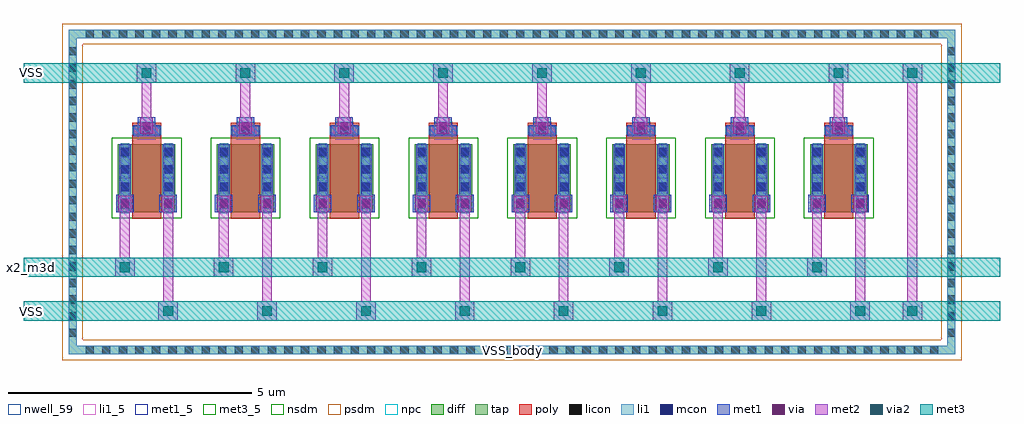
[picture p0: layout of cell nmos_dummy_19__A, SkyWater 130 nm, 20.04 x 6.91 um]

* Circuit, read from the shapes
.subckt nmos_dummy_19__A VSS VSS_body x2_m3d
XM1 VSS VSS x2_m3d VSS_body sky130_fd_pr__nfet_01v8 w=1.4 l=0.6 m=8
.ends

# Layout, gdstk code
import gdstk
lib = gdstk.Library(unit=1e-6, precision=1e-09)
def R(c, l, rs):  # rectangles x0, y0, x1, y1
    for r in rs: c.add(gdstk.rectangle(r[:2], r[2:], *l))
def A(c, l, x, y, w, h, nx, ny, dx, dy):  # array of equal rectangles
    R(c, l, [(x+i*dx, y+j*dy, x+i*dx+w, y+j*dy+h) for i in range(nx) for j in range(ny)])
nwell_59 = (64, 59)
diff = (65, 20)
tap = (65, 44)
poly = (66, 20)
licon = (66, 44)
li1_5 = (67, 5)
li1 = (67, 20)
mcon = (67, 44)
met1_5 = (68, 5)
met1 = (68, 20)
via = (68, 44)
met2 = (69, 20)
via2 = (69, 44)
met3_5 = (70, 5)
met3 = (70, 20)
nsdm = (93, 44)
psdm = (94, 20)
npc = (95, 20)

sky130_fd_pr__nfet_01v8_ = lib.new_cell('sky130_fd_pr__nfet_01v8_RUA5M6')
R(sky130_fd_pr__nfet_01v8_, diff, [(-0.59,-0.855,0.59,0.545)])
R(sky130_fd_pr__nfet_01v8_, poly, [(-0.3,-0.985,0.3,0.985)])
A(sky130_fd_pr__nfet_01v8_, licon, -0.53, -0.75, 0.17, 0.17, 1, 4, 0, 0.34)
A(sky130_fd_pr__nfet_01v8_, licon, 0.36, -0.75, 0.17, 0.17, 1, 4, 0, 0.34)
R(sky130_fd_pr__nfet_01v8_, licon, [(-0.085,0.735,0.085,0.905)])
R(sky130_fd_pr__nfet_01v8_, li1, [(-0.53,-0.875,-0.36,0.565), (0.36,-0.875,0.53,0.565), (-0.3,0.735,0.3,0.905)])
A(sky130_fd_pr__nfet_01v8_, mcon, -0.53, -0.78, 0.17, 0.17, 1, 4, 0, 0.36)
A(sky130_fd_pr__nfet_01v8_, mcon, 0.36, -0.78, 0.17, 0.17, 1, 4, 0, 0.36)
R(sky130_fd_pr__nfet_01v8_, mcon, [(-0.085,0.735,0.085,0.905)])
R(sky130_fd_pr__nfet_01v8_, met1, [(-0.56,-0.855,-0.33,0.545), (0.33,-0.855,0.56,0.545), (-0.28,0.705,0.28,0.935)])
R(sky130_fd_pr__nfet_01v8_, nsdm, [(-0.715,-0.98,0.715,0.67)])
R(sky130_fd_pr__nfet_01v8_, npc, [(-0.185,0.635,0.185,1.005)])
sky130_fd_pr__nfet_01v8_.add(gdstk.Label('D', (-0.445,-0.155), layer=67, texttype=5))
sky130_fd_pr__nfet_01v8_.add(gdstk.Label('S', (0.445,-0.155), layer=67, texttype=5))
sky130_fd_pr__nfet_01v8_.add(gdstk.Label('G', (0,0.82), layer=67, texttype=5))

nfet_01v8_w1p4_l0p6_m8__ = lib.new_cell('nfet_01v8_W1p4_L0p6_m8__nf1_gtop_sdfull_ng')
R(nfet_01v8_w1p4_l0p6_m8__, nwell_59, [(0.05,0.78,0.15,0.88)])
R(nfet_01v8_w1p4_l0p6_m8__, met1_5, [(0.03,0.83,0.26,1.03), (0.92,0.83,1.15,1.03), (0.31,1.69,0.87,1.92)])
R(nfet_01v8_w1p4_l0p6_m8__, met1, [(0.03,0.83,0.26,1.03), (0.92,0.83,1.15,1.03), (0.31,1.69,0.87,1.92)])
nfet_01v8_w1p4_l0p6_m8__.add(gdstk.Reference(sky130_fd_pr__nfet_01v8_, (0.59,0.985)))
nfet_01v8_w1p4_l0p6_m8__.add(gdstk.Label('D', (0.145,0.93), layer=68, texttype=5))
nfet_01v8_w1p4_l0p6_m8__.add(gdstk.Label('S', (1.035,0.93), layer=68, texttype=5))
nfet_01v8_w1p4_l0p6_m8__.add(gdstk.Label('G', (0.59,1.805), layer=68, texttype=5))
nfet_01v8_w1p4_l0p6_m8__.add(gdstk.Label('B', (0.1,0.83), layer=64, texttype=59))

nmos_dummy_19__a = lib.new_cell('nmos_dummy_19__A')
R(nmos_dummy_19__a, tap, [(-0.885,-2.785,17.325,-2.615), (-0.885,-2.615,-0.715,3.705), (17.155,-2.615,17.325,3.705), (-0.885,3.705,17.325,3.875)])
A(nmos_dummy_19__a, licon, -0.535, -2.785, 0.17, 0.17, 52, 2, 0.34, 6.49)
A(nmos_dummy_19__a, licon, -0.885, -2.43, 0.17, 0.17, 1, 18, 0, 0.34)
A(nmos_dummy_19__a, licon, 17.155, -2.43, 0.17, 0.17, 1, 18, 0, 0.34)
R(nmos_dummy_19__a, li1_5, [(8.17,-2.75,8.27,-2.65)])
R(nmos_dummy_19__a, li1, [(-0.885,-2.785,17.325,-2.615), (-0.885,-2.615,-0.715,3.705), (17.155,-2.615,17.325,3.705), (-0.885,3.705,17.325,3.875)])
A(nmos_dummy_19__a, met1, 0.535, 1.72, 0.36, 0.36, 8, 1, 2.03, 0)
R(nmos_dummy_19__a, met1, [(0.09,0.13,0.45,0.49), (0.98,0.13,1.34,0.49), (2.12,0.13,2.48,0.49), (3.01,0.13,3.37,0.49), (4.15,0.13,4.51,0.49), (5.04,0.13,5.4,0.49), (6.18,0.13,6.54,0.49), (7.07,0.13,7.43,0.49), (8.21,0.13,8.57,0.49), (9.1,0.13,9.46,0.49), (10.24,0.13,10.6,0.49), (11.13,0.13,11.49,0.49), (12.27,0.13,12.63,0.49), (13.16,0.13,13.52,0.49), (14.3,0.13,14.66,0.49), (15.19,0.13,15.55,0.49)])
A(nmos_dummy_19__a, via, 0.64, 1.825, 0.15, 0.15, 8, 1, 2.03, 0)
R(nmos_dummy_19__a, via, [(0.195,0.235,0.345,0.385), (1.085,0.235,1.235,0.385), (2.225,0.235,2.375,0.385), (3.115,0.235,3.265,0.385), (4.255,0.235,4.405,0.385), (5.145,0.235,5.295,0.385), (6.285,0.235,6.435,0.385), (7.175,0.235,7.325,0.385), (8.315,0.235,8.465,0.385), (9.205,0.235,9.355,0.385), (10.345,0.235,10.495,0.385), (11.235,0.235,11.385,0.385), (12.375,0.235,12.525,0.385), (13.265,0.235,13.415,0.385), (14.405,0.235,14.555,0.385), (15.295,0.235,15.445,0.385)])
A(nmos_dummy_19__a, met2, 0.96, -2.1, 0.4, 0.4, 8, 1, 2.03, 0)
A(nmos_dummy_19__a, met2, 1.06, -1.7, 0.2, 1.85, 8, 1, 2.03, 0)
A(nmos_dummy_19__a, met2, 0.07, -1.2, 0.4, 0.4, 8, 1, 2.03, 0)
A(nmos_dummy_19__a, met2, 0.17, -0.8, 0.2, 0.95, 8, 1, 2.03, 0)
A(nmos_dummy_19__a, met2, 0.585, 1.74, 0.26, 0.32, 8, 1, 2.03, 0)
A(nmos_dummy_19__a, met2, 0.615, 2.06, 0.2, 0.73, 8, 1, 2.03, 0)
A(nmos_dummy_19__a, met2, 0.515, 2.79, 0.4, 0.4, 8, 1, 2.03, 0)
R(nmos_dummy_19__a, met2, [(16.24,-2.1,16.64,-1.7), (16.34,-1.7,16.54,2.79), (0.14,0.15,0.4,0.47), (1.03,0.15,1.29,0.47), (2.17,0.15,2.43,0.47), (3.06,0.15,3.32,0.47), (4.2,0.15,4.46,0.47), (5.09,0.15,5.35,0.47), (6.23,0.15,6.49,0.47), (7.12,0.15,7.38,0.47), (8.26,0.15,8.52,0.47), (9.15,0.15,9.41,0.47), (10.29,0.15,10.55,0.47), (11.18,0.15,11.44,0.47), (12.32,0.15,12.58,0.47), (13.21,0.15,13.47,0.47), (14.35,0.15,14.61,0.47), (15.24,0.15,15.5,0.47), (16.24,2.79,16.64,3.19)])
A(nmos_dummy_19__a, via2, 1.06, -2, 0.2, 0.2, 8, 1, 2.03, 0)
A(nmos_dummy_19__a, via2, 0.17, -1.1, 0.2, 0.2, 8, 1, 2.03, 0)
A(nmos_dummy_19__a, via2, 0.615, 2.89, 0.2, 0.2, 8, 1, 2.03, 0)
R(nmos_dummy_19__a, via2, [(16.34,-2,16.54,-1.8), (16.34,2.89,16.54,3.09)])
R(nmos_dummy_19__a, met3_5, [(-1.7,-1.95,-1.6,-1.85), (-1.7,-1.05,-1.6,-0.95), (-1.7,2.94,-1.6,3.04)])
R(nmos_dummy_19__a, met3, [(-1.8,-2.1,18.24,-1.7), (-1.8,-1.2,18.24,-0.8), (-1.8,2.79,18.24,3.19)])
R(nmos_dummy_19__a, psdm, [(-1.01,-2.91,17.45,-2.49), (-1.01,-2.49,-0.59,3.58), (17.03,-2.49,17.45,3.58), (-1.01,3.58,17.45,4)])
nmos_dummy_19__a.add(gdstk.Reference(nfet_01v8_w1p4_l0p6_m8__, (14.34,0)))
nmos_dummy_19__a.add(gdstk.Reference(nfet_01v8_w1p4_l0p6_m8__, (12.31,0)))
nmos_dummy_19__a.add(gdstk.Reference(nfet_01v8_w1p4_l0p6_m8__, (10.28,0)))
nmos_dummy_19__a.add(gdstk.Reference(nfet_01v8_w1p4_l0p6_m8__, (8.25,0)))
nmos_dummy_19__a.add(gdstk.Reference(nfet_01v8_w1p4_l0p6_m8__, (6.22,0)))
nmos_dummy_19__a.add(gdstk.Reference(nfet_01v8_w1p4_l0p6_m8__, (4.19,0)))
nmos_dummy_19__a.add(gdstk.Reference(nfet_01v8_w1p4_l0p6_m8__, (2.16,0)))
nmos_dummy_19__a.add(gdstk.Reference(nfet_01v8_w1p4_l0p6_m8__, (0.13,0)))
nmos_dummy_19__a.add(gdstk.Label('VSS', (-1.65,2.99), layer=70, texttype=5))
nmos_dummy_19__a.add(gdstk.Label('x2_m3d', (-1.65,-1), layer=70, texttype=5))
nmos_dummy_19__a.add(gdstk.Label('VSS', (-1.65,-1.9), layer=70, texttype=5))
nmos_dummy_19__a.add(gdstk.Label('VSS_body', (8.22,-2.7), layer=67, texttype=5))

lib.write_gds('nmos_dummy_19__A.gds')
